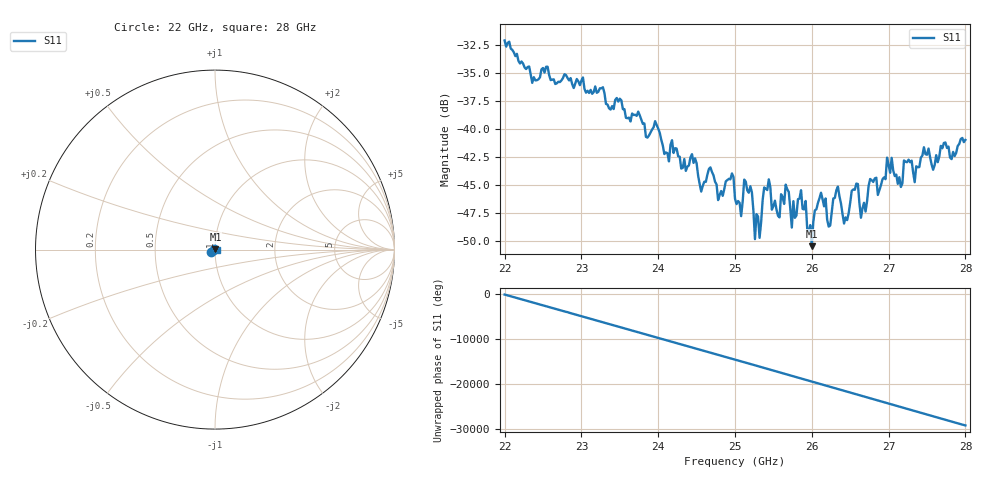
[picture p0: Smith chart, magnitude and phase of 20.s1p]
#  HZ  S  RI  R  50.00
! Rohde & Schwarz ZVA40 4Ports - Version 3.90 - 1145.1110k42 SN: 100403
! Date: 2023-10-04 10:27:30
! Measurement: S12
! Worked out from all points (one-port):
!   301 points, 22 GHz to 28 GHz, reference 50 ohm
!   lowest |S11| = -50.4 dB at 26 GHz (marker M1), VSWR 1.01, Z = 50.3 + j0.123 ohm
!   |S11| at or under -10 dB: start of sweep to end of sweep
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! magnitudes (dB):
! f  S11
! 22 GHz  -32.1
! 22.36 GHz  -35.8
! 22.76 GHz  -35.4
! 23.5 GHz  -37.3
! 24.26 GHz  -42.4
! 24.68 GHz  -43.4
! 24.78 GHz  -46.3
! 24.96 GHz  -43.9
! 25 GHz  -46.2
! 25.2 GHz  -45.1
! 25.26 GHz  -49.8
! 25.44 GHz  -44.5
! 25.58 GHz  -47.9
! 25.66 GHz  -44.9
! 25.74 GHz  -48.8
! 25.76 GHz  -46.4
! 25.92 GHz  -46.4
! 26 GHz  -50.4
! 26.12 GHz  -45.7
! 26.22 GHz  -48.7
! 26.34 GHz  -45.1
! 26.42 GHz  -48.4
! 26.5 GHz  -46.6
! 27.26 GHz  -42.7
! 27.34 GHz  -44.7
! 27.46 GHz  -41.6
! 27.58 GHz  -43.6
! 28 GHz  -40.9
